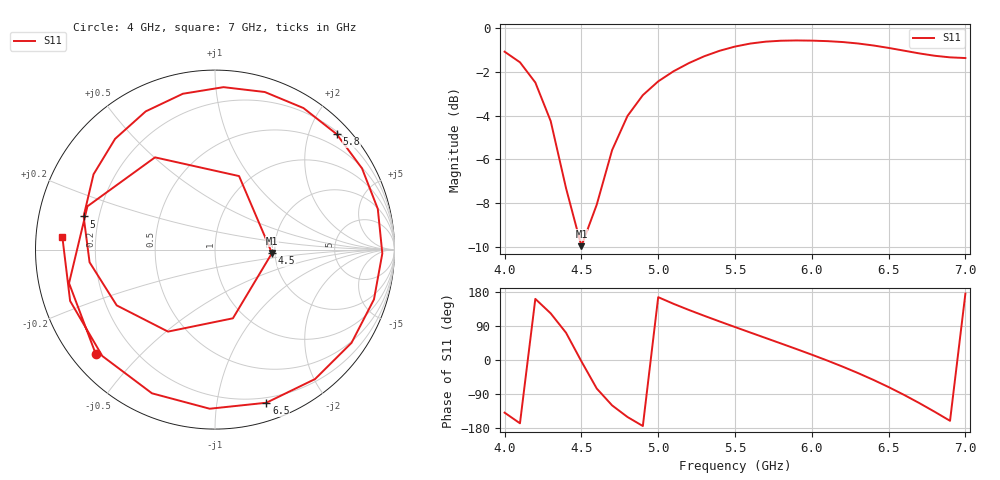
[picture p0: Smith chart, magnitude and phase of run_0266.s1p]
! Touchstone file exported from HFSS 2024.2.0
!  File:  C:/Users/wsak9/Desktop/Sim Fast/Widenad Patch/WP_AI_V1_sweep.aedt
!  Generated:  02:11:52 AM Oct 14, 2026
!  Design:  A1_model
!  Project:  WP_AI_V1_sweep
!  Setup:  Setup1
!  Solution:  Sweep
! Variables:
!  Air_gap = 4.11mm
!  Curve_Amp1 = 1.8
!  Curve_len1 = 1
!  Curve_pos = 13.105mm
!  Extra = 3.85mm
!  H_sub = 0.79mm
!  L_Patch = 22.21mm
!  L_Patch1 = 14.63mm
!  Sx = 4.77mm
!  Sy = 0.65mm
!  WS = 1.14mm
!  W_Patch = 15.15mm
!  W_Patch1 = 10.78mm
!Data is not renormalized
# GHz S MA
! Terminal data exported
! Port[1] = 1
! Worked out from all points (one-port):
!   31 points, 4 GHz to 7 GHz, reference per port
!   lowest |S11| = -10.0 dB at 4.5 GHz (marker M1), VSWR 1.93
!   |S11| at or under -10 dB: nowhere
!   S11 on the Smith chart (normalised r, x): 4 GHz: 0.07, -0.37; 4.5 GHz: 1.93, -0.08; 5 GHz: 0.14, +0.12; 5.8 GHz: 0.24, +2.49; 6.5 GHz: 0.15, -1.38; 7 GHz: 0.08, +0.04
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4  0.8822 -138.9
4.1  0.8344 -167.0
4.2  0.7505 161.3
4.3  0.613 123.0
4.4  0.431 71.9
4.5  0.318 -3.5
4.6  0.3956 -75.4
4.7  0.5266 -119.8
4.8  0.6297 -150.4
4.9  0.7024 -174.2
5  0.755 165.8
5.1  0.7962 148.2
5.2  0.8311 132.0
5.4  0.8865 101.7
5.5  0.9063 87.0
5.6  0.9208 72.5
5.8  0.9345 43.5
5.9  0.9358 28.9
6.1  0.9325 -1.3
6.2  0.9281 -17.4
6.3  0.9211 -34.3
6.4  0.9116 -52.3
6.5  0.8999 -71.5
6.6  0.8871 -91.9
6.7  0.8743 -113.7
6.8  0.8636 -136.6
6.9  0.8564 -160.5
7  0.8533 175.3
